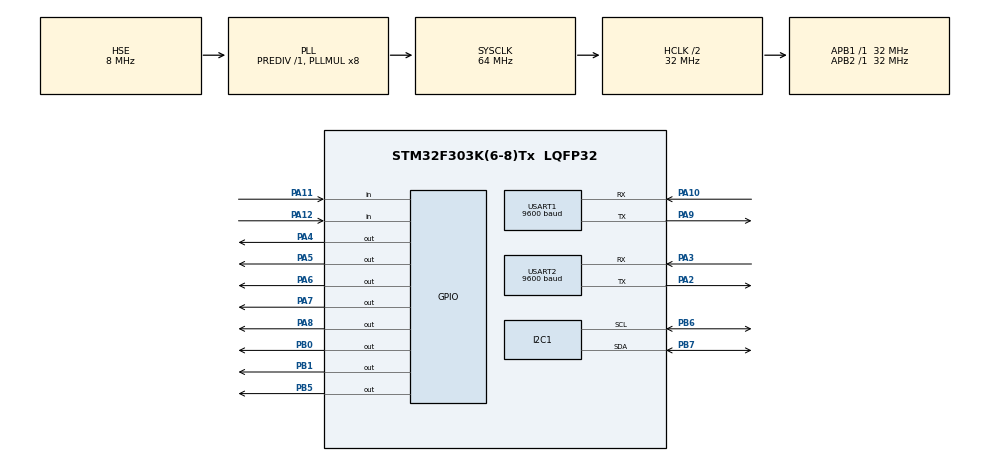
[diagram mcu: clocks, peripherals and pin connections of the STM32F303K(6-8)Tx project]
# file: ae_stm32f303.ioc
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Mcu.Family=STM32F3
Mcu.Name=STM32F303K(6-8)Tx
Mcu.Package=LQFP32
NVIC.PriorityGroup=NVIC_PRIORITYGROUP_4
PA10.Mode=Asynchronous
PA10.Signal=USART1_RX
PA11.Signal=GPIO_Input
PA12.Signal=GPIO_Input
PA13.Mode=JTAG_5_pins
PA13.Signal=SYS_JTMS-SWDIO
PA14.Mode=JTAG_5_pins
PA14.Signal=SYS_JTCK-SWCLK
PA15.Mode=JTAG_5_pins
PA15.Signal=SYS_JTDI
PA2.Mode=Asynchronous
PA2.Signal=USART2_TX
PA3.Mode=Asynchronous
PA3.Signal=USART2_RX
PA4.Signal=GPIO_Output
PA5.Signal=GPIO_Output
PA6.Signal=GPIO_Output
PA7.Signal=GPIO_Output
PA8.Signal=GPIO_Output
PA9.Mode=Asynchronous
PA9.Signal=USART1_TX
PB0.Signal=GPIO_Output
PB1.Signal=GPIO_Output
PB3.Mode=JTAG_5_pins
PB3.Signal=SYS_JTDO-TRACESWO
PB4.Mode=JTAG_5_pins
PB4.Signal=SYS_NJTRST
PB5.Signal=GPIO_Output
PB6.Mode=I2C
PB6.Signal=I2C1_SCL
PB7.Mode=I2C
PB7.Signal=I2C1_SDA
PF0\ /\ OSC_IN.Mode=HSE-External-Oscillator
PF0\ /\ OSC_IN.Signal=RCC_OSC_IN
PF1\ /\ OSC_OUT.Mode=HSE-External-Oscillator
PF1\ /\ OSC_OUT.Signal=RCC_OSC_OUT
ProjectManager.HeapSize=0x200
ProjectManager.StackSize=0x400
ProjectManager.TargetToolchain=STM32CubeIDE
RCC.AHBCLKDivider=RCC_SYSCLK_DIV2
RCC.AHBFreq_Value=32000000
RCC.APB1Freq_Value=32000000
RCC.APB1TimFreq_Value=32000000
RCC.APB2Freq_Value=32000000
RCC.APB2TimFreq_Value=32000000
RCC.CortexFreq_Value=32000000
RCC.HCLKFreq_Value=32000000
RCC.HSE_VALUE=8000000
RCC.HSI_VALUE=8000000
RCC.PLLMUL=RCC_PLL_MUL8
RCC.PLLSourceVirtual=RCC_PLLSOURCE_HSE
RCC.SYSCLKFreq_VALUE=64000000
RCC.SYSCLKSourceVirtual=RCC_SYSCLKSOURCE_PLLCLK
USART1.BaudRate=9600
USART1.VirtualMode-Asynchronous=VM_ASYNC
USART2.BaudRate=9600
USART2.VirtualMode-Asynchronous=VM_ASYNC
board=custom

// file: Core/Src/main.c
/* USER CODE BEGIN Header */
/**
	******************************************************************************
	* @file           : main.c
	* @brief          : Main program body
	******************************************************************************
	* @attention
	*
	* Copyright (c) 2024 STMicroelectronics.
	* All rights reserved.
	*
	* This software is licensed under terms that can be found in the LICENSE file
	* in the root directory of this software component.
	* If no LICENSE file comes with this software, it is provided AS-IS.
	*
	******************************************************************************
	*/
/* USER CODE END Header */
#include "main.h"

/* USER CODE BEGIN PD */
#define AQM1602_ADDRESS (0x3e << 1)
/* USER CODE END PD */

I2C_HandleTypeDef hi2c1;

UART_HandleTypeDef huart1;
UART_HandleTypeDef huart2;

void SystemClock_Config(void);
static void MX_GPIO_Init(void);
static void MX_I2C1_Init(void);
static void MX_USART1_UART_Init(void);
static void MX_USART2_UART_Init(void);

/* USER CODE BEGIN 0 */
void lcd_cmd(uint8_t x)
{
	uint8_t aTxBuffer[2] = { 0x00, x };
	while (HAL_I2C_Master_Transmit(&hi2c1, (uint16_t)AQM1602_ADDRESS, (uint8_t*)aTxBuffer, 2, 1000) != HAL_OK) {
		if (HAL_I2C_GetError(&hi2c1) != HAL_I2C_ERROR_AF)
		{
			Error_Handler();
		}
	}
}

void lcd_data(uint8_t x)
{
	uint8_t aTxBuffer[2] = { 0x40, x };
	while (HAL_I2C_Master_Transmit(&hi2c1, (uint16_t)AQM1602_ADDRESS, (uint8_t*)aTxBuffer, 2, 1000) != HAL_OK) {
		if (HAL_I2C_GetError(&hi2c1) != HAL_I2C_ERROR_AF)
		{
			Error_Handler();
		}
	}
}

void lcd_puts(const char *s)
{
	while(*s) lcd_data(*s++);
}

// param:
//  contrast: 0 ~ 63 (最初は大きくして調整)
void lcd_init(uint8_t contrast)
{
	// LCD initialize
	lcd_cmd(0x38); // function set
	lcd_cmd(0x39); // function set
	lcd_cmd(0x14); // interval osc
	lcd_cmd(0x70 | (contrast & 15)); // contrast low
	lcd_cmd(0x5c | (contrast >> 4 & 3)); // contrast high / icon / power
	lcd_cmd(0x6c); // follower control
	HAL_Delay(300);
	lcd_cmd(0x38); // function set
	lcd_cmd(0x0c); // display on
	lcd_cmd(0x01); // clear display
	HAL_Delay(2);
}

void lcd_move(uint8_t pos){
	lcd_cmd(0x80 | pos);
}

void lcd_pos(uint8_t raw, uint8_t col) {
	lcd_cmd(0x80 | ((raw & 0x01) << 6) | col);
}

void lcd_clear() {
	lcd_cmd(0x01);
}

/* USER CODE END 0 */

int main(void)
{

	/* MCU Configuration--------------------------------------------------------*/

	/* Reset of all peripherals, Initializes the Flash interface and the Systick. */
	HAL_Init();

	/* Configure the system clock */
	SystemClock_Config();

	/* Initialize all configured peripherals */
	MX_GPIO_Init();
	MX_I2C1_Init();
	MX_USART1_UART_Init();
	MX_USART2_UART_Init();

	/* USER CODE BEGIN 2 */
	// LCD電源として3.3V出力(仮)
	HAL_GPIO_WritePin(GPIOA, GPIO_PIN_4, 1);
	HAL_Delay(500);

	// LCD表示
	lcd_init(32);
	lcd_puts("Hello STM32");
	lcd_pos(1, 0);
	lcd_puts("AQM1602");

	/* USER CODE END 2 */

	/* Infinite loop */
	while (1)
	{

		/* USER CODE BEGIN 3 */
		HAL_Delay(1000);
		HAL_GPIO_TogglePin(GPIOB, GPIO_PIN_0);
	}
	/* USER CODE END 3 */
}

void SystemClock_Config(void)
{
	RCC_OscInitTypeDef RCC_OscInitStruct = {0};
	RCC_ClkInitTypeDef RCC_ClkInitStruct = {0};
	RCC_PeriphCLKInitTypeDef PeriphClkInit = {0};

	/** Initializes the RCC Oscillators according to the specified parameters
	* in the RCC_OscInitTypeDef structure.
	*/
	RCC_OscInitStruct.OscillatorType = RCC_OSCILLATORTYPE_HSI|RCC_OSCILLATORTYPE_HSE;
	RCC_OscInitStruct.HSEState = RCC_HSE_ON;
	RCC_OscInitStruct.HSEPredivValue = RCC_HSE_PREDIV_DIV1;
	RCC_OscInitStruct.HSIState = RCC_HSI_ON;
	RCC_OscInitStruct.HSICalibrationValue = RCC_HSICALIBRATION_DEFAULT;
	RCC_OscInitStruct.PLL.PLLState = RCC_PLL_ON;
	RCC_OscInitStruct.PLL.PLLSource = RCC_PLLSOURCE_HSE;
	RCC_OscInitStruct.PLL.PLLMUL = RCC_PLL_MUL8;
	if (HAL_RCC_OscConfig(&RCC_OscInitStruct) != HAL_OK)
	{
		Error_Handler();
	}

	/** Initializes the CPU, AHB and APB buses clocks
	*/
	RCC_ClkInitStruct.ClockType = RCC_CLOCKTYPE_HCLK|RCC_CLOCKTYPE_SYSCLK
															|RCC_CLOCKTYPE_PCLK1|RCC_CLOCKTYPE_PCLK2;
	RCC_ClkInitStruct.SYSCLKSource = RCC_SYSCLKSOURCE_PLLCLK;
	RCC_ClkInitStruct.AHBCLKDivider = RCC_SYSCLK_DIV2;
	RCC_ClkInitStruct.APB1CLKDivider = RCC_HCLK_DIV1;
	RCC_ClkInitStruct.APB2CLKDivider = RCC_HCLK_DIV1;

	if (HAL_RCC_ClockConfig(&RCC_ClkInitStruct, FLASH_LATENCY_1) != HAL_OK)
	{
		Error_Handler();
	}
	PeriphClkInit.PeriphClockSelection = RCC_PERIPHCLK_USART1|RCC_PERIPHCLK_I2C1;
	PeriphClkInit.Usart1ClockSelection = RCC_USART1CLKSOURCE_PCLK1;
	PeriphClkInit.I2c1ClockSelection = RCC_I2C1CLKSOURCE_HSI;
	if (HAL_RCCEx_PeriphCLKConfig(&PeriphClkInit) != HAL_OK)
	{
		Error_Handler();
	}
}

static void MX_I2C1_Init(void)
{

	hi2c1.Instance = I2C1;
	hi2c1.Init.Timing = 0x2000090E;
	hi2c1.Init.OwnAddress1 = 0;
	hi2c1.Init.AddressingMode = I2C_ADDRESSINGMODE_7BIT;
	hi2c1.Init.DualAddressMode = I2C_DUALADDRESS_DISABLE;
	hi2c1.Init.OwnAddress2 = 0;
	hi2c1.Init.OwnAddress2Masks = I2C_OA2_NOMASK;
	hi2c1.Init.GeneralCallMode = I2C_GENERALCALL_DISABLE;
	hi2c1.Init.NoStretchMode = I2C_NOSTRETCH_DISABLE;
	if (HAL_I2C_Init(&hi2c1) != HAL_OK)
	{
		Error_Handler();
	}

	/** Configure Analogue filter
	*/
	if (HAL_I2CEx_ConfigAnalogFilter(&hi2c1, I2C_ANALOGFILTER_ENABLE) != HAL_OK)
	{
		Error_Handler();
	}

	/** Configure Digital filter
	*/
	if (HAL_I2CEx_ConfigDigitalFilter(&hi2c1, 0) != HAL_OK)
	{
		Error_Handler();
	}

}

static void MX_USART1_UART_Init(void)
{

	huart1.Instance = USART1;
	huart1.Init.BaudRate = 9600;
	huart1.Init.WordLength = UART_WORDLENGTH_8B;
	huart1.Init.StopBits = UART_STOPBITS_1;
	huart1.Init.Parity = UART_PARITY_NONE;
	huart1.Init.Mode = UART_MODE_TX_RX;
	huart1.Init.HwFlowCtl = UART_HWCONTROL_NONE;
	huart1.Init.OverSampling = UART_OVERSAMPLING_16;
	huart1.Init.OneBitSampling = UART_ONE_BIT_SAMPLE_DISABLE;
	huart1.AdvancedInit.AdvFeatureInit = UART_ADVFEATURE_NO_INIT;
	if (HAL_UART_Init(&huart1) != HAL_OK)
	{
		Error_Handler();
	}

}

static void MX_USART2_UART_Init(void)
{

	huart2.Instance = USART2;
	huart2.Init.BaudRate = 9600;
	huart2.Init.WordLength = UART_WORDLENGTH_8B;
	huart2.Init.StopBits = UART_STOPBITS_1;
	huart2.Init.Parity = UART_PARITY_NONE;
	huart2.Init.Mode = UART_MODE_TX_RX;
	huart2.Init.HwFlowCtl = UART_HWCONTROL_NONE;
	huart2.Init.OverSampling = UART_OVERSAMPLING_16;
	huart2.Init.OneBitSampling = UART_ONE_BIT_SAMPLE_DISABLE;
	huart2.AdvancedInit.AdvFeatureInit = UART_ADVFEATURE_NO_INIT;
	if (HAL_UART_Init(&huart2) != HAL_OK)
	{
		Error_Handler();
	}

}

static void MX_GPIO_Init(void)
{
	GPIO_InitTypeDef GPIO_InitStruct = {0};

	/* GPIO Ports Clock Enable */
	__HAL_RCC_GPIOF_CLK_ENABLE();
	__HAL_RCC_GPIOA_CLK_ENABLE();
	__HAL_RCC_GPIOB_CLK_ENABLE();

	/*Configure GPIO pin Output Level */
	HAL_GPIO_WritePin(GPIOA, GPIO_PIN_4|GPIO_PIN_5|GPIO_PIN_6|GPIO_PIN_7
													|GPIO_PIN_8, GPIO_PIN_RESET);

	/*Configure GPIO pin Output Level */
	HAL_GPIO_WritePin(GPIOB, GPIO_PIN_0|GPIO_PIN_1|GPIO_PIN_5, GPIO_PIN_RESET);

	/*Configure GPIO pins : PA4 PA5 PA6 PA7
													 PA8 */
	GPIO_InitStruct.Pin = GPIO_PIN_4|GPIO_PIN_5|GPIO_PIN_6|GPIO_PIN_7
													|GPIO_PIN_8;
	GPIO_InitStruct.Mode = GPIO_MODE_OUTPUT_PP;
	GPIO_InitStruct.Pull = GPIO_NOPULL;
	GPIO_InitStruct.Speed = GPIO_SPEED_FREQ_LOW;
	HAL_GPIO_Init(GPIOA, &GPIO_InitStruct);

	/*Configure GPIO pins : PB0 PB1 PB5 */
	GPIO_InitStruct.Pin = GPIO_PIN_0|GPIO_PIN_1|GPIO_PIN_5;
	GPIO_InitStruct.Mode = GPIO_MODE_OUTPUT_PP;
	GPIO_InitStruct.Pull = GPIO_NOPULL;
	GPIO_InitStruct.Speed = GPIO_SPEED_FREQ_LOW;
	HAL_GPIO_Init(GPIOB, &GPIO_InitStruct);

	/*Configure GPIO pins : PA11 PA12 */
	GPIO_InitStruct.Pin = GPIO_PIN_11|GPIO_PIN_12;
	GPIO_InitStruct.Mode = GPIO_MODE_INPUT;
	GPIO_InitStruct.Pull = GPIO_NOPULL;
	HAL_GPIO_Init(GPIOA, &GPIO_InitStruct);

}

void Error_Handler(void)
{
	__disable_irq();
	while (1)
	{
	}
}
